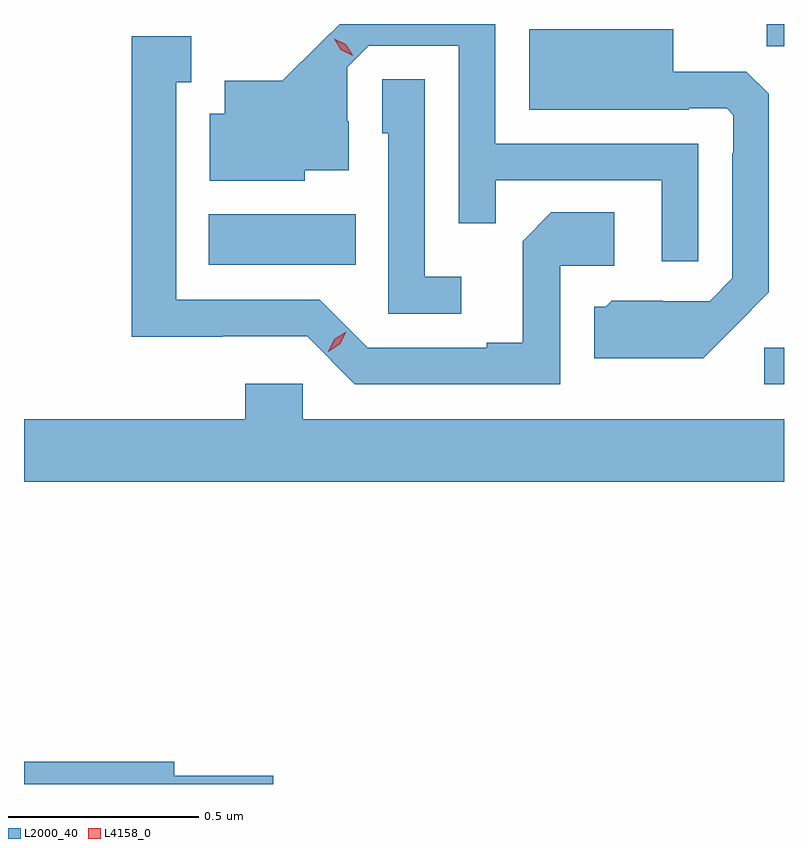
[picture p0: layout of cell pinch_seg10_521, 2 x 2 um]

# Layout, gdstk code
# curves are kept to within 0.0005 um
import gdstk
lib = gdstk.Library(unit=1e-6, precision=1e-09)
def R(c, l, rs):  # rectangles x0, y0, x1, y1
    for r in rs: c.add(gdstk.rectangle(r[:2], r[2:], *l))
def P(c, l, *ps):  # polygons
    for p in ps: c.add(gdstk.Polygon(p, *l))
L2000_40 = (2000, 40)
L4158_0 = (4158, 0)

pinch_seg10_521 = lib.new_cell('pinch_seg10_521')
R(pinch_seg10_521, L2000_40, [(389.025,1307.232,389.077,1307.328), (387.563,1307.546,387.95,1307.68), (389.032,1308.121,389.077,1308.18)])
P(pinch_seg10_521, L2000_40, [(388.851,1307.865),(388.317,1307.865),(388.317,1308.18),(387.908,1308.18),(387.757,1308.031),(387.605,1308.031),(387.605,1307.944),(387.566,1307.944),(387.566,1307.768),(387.816,1307.768),(387.816,1307.795),(387.931,1307.795),(387.931,1307.924),(387.927,1307.924),(387.927,1308.066),(387.984,1308.123),(388.221,1308.123),(388.221,1307.656),(388.319,1307.656),(388.319,1307.769),(388.755,1307.769),(388.755,1307.556),(388.851,1307.556)],
  [(388.945,1307.381),(389.037,1307.474),(389.037,1307.996),(388.978,1308.055),(388.786,1308.055),(388.786,1308.166),(388.406,1308.166),(388.406,1307.954),(388.826,1307.954),(388.826,1307.958),(388.926,1307.958),(388.944,1307.94),(388.944,1307.84),(388.941,1307.84),(388.941,1307.511),(388.881,1307.451),(388.758,1307.451),(388.758,1307.452),(388.624,1307.452),(388.608,1307.436),(388.577,1307.436),(388.577,1307.3),(388.865,1307.3)],
  [(388.488,1307.544),(388.63,1307.544),(388.63,1307.684),(388.465,1307.684),(388.389,1307.608),(388.389,1307.341),(388.295,1307.341),(388.295,1307.328),(387.981,1307.328),(387.855,1307.454),(387.478,1307.454),(387.478,1308.027),(387.517,1308.027),(387.517,1308.148),(387.36,1308.148),(387.36,1307.357),(387.6,1307.357),(387.6,1307.358),(387.822,1307.358),(387.948,1307.232),(388.488,1307.232)],
  [(388.228,1307.515),(388.131,1307.515),(388.131,1308.035),(388.02,1308.035),(388.02,1307.892),(388.035,1307.892),(388.035,1307.418),(388.228,1307.418)],
  [(389.077,1307.14),(387.81,1307.14),(387.81,1307.233),(387.659,1307.233),(387.659,1307.14),(387.077,1307.14),(387.077,1306.976),(389.077,1306.976)],
  [(387.733,1306.202),(387.472,1306.202),(387.472,1306.238),(387.077,1306.238),(387.077,1306.18),(387.733,1306.18)])
P(pinch_seg10_521, L4158_0, [(387.942,1308.097),(387.911,1308.112),(387.893,1308.141),(387.893,1308.141),(387.893,1308.141),(387.924,1308.127),(387.942,1308.098),(387.942,1308.097)],
  [(387.877,1307.318),(387.877,1307.318),(387.894,1307.351),(387.925,1307.37),(387.925,1307.37),(387.925,1307.37),(387.908,1307.337),(387.877,1307.318)])

lib.write_gds('pinch_seg10_521.gds')
